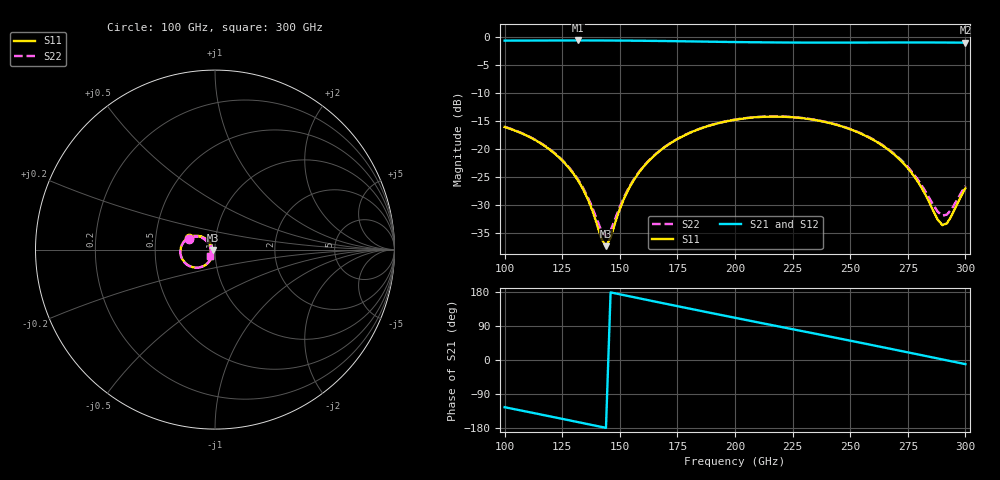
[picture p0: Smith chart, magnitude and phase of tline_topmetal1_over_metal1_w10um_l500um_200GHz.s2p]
#  GHZ S DB R 50
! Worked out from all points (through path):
!   101 points, 100 GHz to 300 GHz, reference 50 ohm
!   highest |S21| = -0.69 dB at 132 GHz (marker M1); lowest = -1.1 dB at 300 GHz (marker M2)
!   group delay of S21, straight-line fit = 3.41 ps
!   lowest |S11| = -37.4 dB at 144 GHz (marker M3), VSWR 1.03, Z = 48.7 - j0.174 ohm
!   |S11| at or under -10 dB: start of sweep to end of sweep
!   |S22| runs from -35.7 to -14.3 dB; largest |S21 - S12| = 1.5e-14
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100  -16.13 155.9  -0.71 -124.5  -0.71 -124.5  -16.10 157.2
118  -19.69 136.2  -0.70 -146.6  -0.70 -146.6  -19.63 138.3
132  -25.77 126.6  -0.69 -164.1  -0.69 -164.1  -25.60 130.3
134  -27.20 126.9  -0.69 -166.6  -0.69 -166.6  -26.97 131.1
138  -30.95 132.3  -0.69 -171.6  -0.69 -171.6  -30.44 137.8
142  -36.06 157.7  -0.69 -176.6  -0.69 -176.6  -34.68 162.8
144  -37.42 -172.4  -0.70 -179.1  -0.70 -179.1  -35.68 -172.5
146  -35.90 -143.1  -0.70 178.4  -0.70 178.4  -34.64 -147.8
150  -30.80 -118.7  -0.71 173.4  -0.71 173.4  -30.39 -123.1
154  -27.08 -113.6  -0.72 168.3  -0.72 168.3  -26.91 -116.4
160  -23.38 -114.7  -0.74 160.8  -0.74 160.8  -23.30 -116.3
168  -20.19 -121.0  -0.78 150.8  -0.78 150.8  -20.15 -121.7
182  -16.90 -135.3  -0.86 133.5  -0.86 133.5  -16.88 -135.3
200  -14.84 -155.3  -0.97 111.4  -0.97 111.4  -14.82 -154.7
216  -14.28 -173.1  -1.04 92.1  -1.04 92.1  -14.25 -172.1
234  -14.84 167.1  -1.07 70.4  -1.07 70.4  -14.80 168.6
252  -16.86 148.2  -1.07 48.6  -1.07 48.6  -16.80 150.3
268  -20.67 134.1  -1.05 28.9  -1.05 28.9  -20.55 137.4
278  -25.08 131.1  -1.05 16.5  -1.05 16.5  -24.78 136.0
290  -33.66 178.7  -1.06 1.5  -1.06 1.5  -31.97 -179.4
292  -33.35 -160.9  -1.06 -1.0  -1.06 -1.0  -31.78 -162.9
300  -27.07 -124.6  -1.08 -11.0  -1.08 -11.0  -26.66 -128.2
